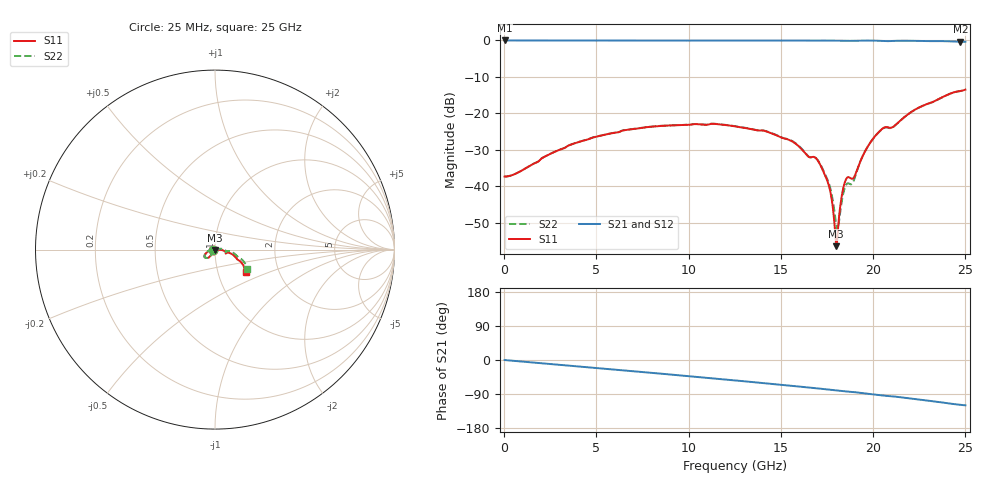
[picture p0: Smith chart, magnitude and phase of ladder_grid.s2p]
! RG_s4_pwr_n4_cap2: kisi's ladder with the plane pair as a finite cavity (grid) (Finite board 24 × 16 mm, via L1 → L4 through the GND/PWR pair L2/L3, four GND vias at 1 mm joined to L2 only (openings in the PWR plane L3), a capacitor between L2 and L3 2 mm away)
# Hz S RI R 50
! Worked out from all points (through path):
!   1000 points, 25 MHz to 25 GHz, reference 50 ohm
!   highest |S21| = -0.12 dB at 25 MHz (marker M1); lowest = -0.5 dB at 24.73 GHz (marker M2)
!   group delay of S21, straight-line fit = 13 ps
!   lowest |S11| = -56.4 dB at 18 GHz (marker M3), VSWR 1.00, Z = 50 - j0.145 ohm
!   |S11| at or under -10 dB: start of sweep to end of sweep
!   |S22| runs from -52.0 to -13.6 dB; largest |S21 - S12| = 0
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2.5e7  -0.0135 -0.00022  0.9865 -0.00181  0.9865 -0.00181  -0.0135 -0.000221
4.2e9  -0.0243 -0.0335  0.9391 -0.2996  0.9391 -0.2996  -0.0242 -0.0337
8.35e9  -0.0473 -0.0465  0.8024 -0.5707  0.8024 -0.5707  -0.0473 -0.0469
1.2525e10  -0.0578 -0.0315  0.5803 -0.7954  0.5803 -0.7954  -0.0583 -0.0313
1.545e10  -0.0409 -0.0131  0.3763 -0.9083  0.3763 -0.9083  -0.0417 -0.0116
1.6675e10  -0.0232 -0.00944  0.2771 -0.9384  0.2771 -0.9384  -0.0239 -0.00683
1.705e10  -0.0208 -0.00508  0.2503 -0.9498  0.2503 -0.9498  -0.0217 -0.00228
1.755e10  -0.011 -0.00233  0.2069 -0.9606  0.2069 -0.9606  -0.0118 0.00108
1.7725e10  -0.00717 -0.0014  0.1913 -0.9642  0.1913 -0.9642  -0.00804 0.00225
1.7925e10  -0.00224 -0.00126  0.1728 -0.967  0.1728 -0.967  -0.00305 0.0027
1.8e10  -0.000413 -0.00145  0.1659 -0.9677  0.1659 -0.9677  -0.00119 0.00261
1.8125e10  0.00254 -0.00198  0.1544 -0.9686  0.1544 -0.9686  0.00184 0.00227
1.83e10  0.00665 -0.00321  0.1384 -0.9692  0.1384 -0.9692  0.00608 0.00129
1.8525e10  0.0105 -0.00654  0.1195 -0.9677  0.1195 -0.9677  0.0102 -0.0018
1.8975e10  0.0127 -0.00442  0.0886 -0.974  0.0886 -0.974  0.0124 0.000498
1.9425e10  0.0255 -0.000991  0.0453 -0.9816  0.0453 -0.9816  0.0252 0.00475
1.995e10  0.0429 -0.00378  -0.008 -0.9815  -0.008 -0.9815  0.0429 0.00307
2.05e10  0.0594 -0.0146  -0.0621 -0.9708  -0.0621 -0.9708  0.0603 -0.00671
2.085e10  0.0594 -0.0222  -0.0838 -0.9619  -0.0838 -0.9619  0.0608 -0.0143
2.2425e10  0.1107 -0.0386  -0.2408 -0.9421  -0.2408 -0.9421  0.1138 -0.0272
2.4725e10  0.1641 -0.1151  -0.4457 -0.8339  -0.4457 -0.8339  0.1736 -0.0997
2.5e10  0.17 -0.122  -0.4689 -0.823  -0.4689 -0.823  0.18 -0.1062
